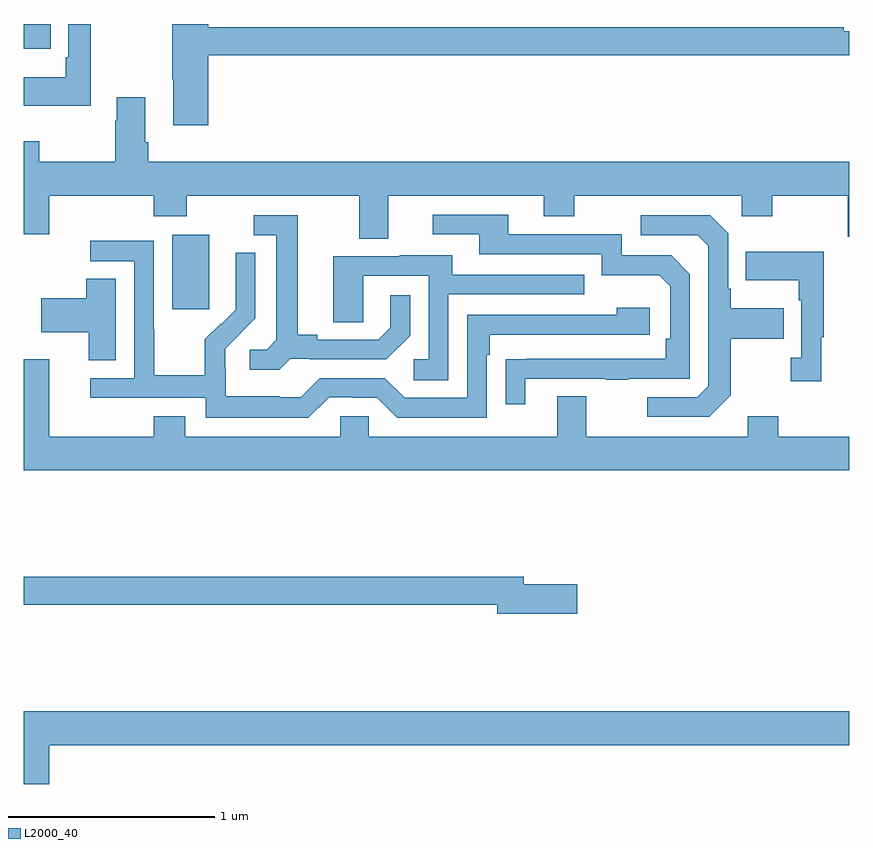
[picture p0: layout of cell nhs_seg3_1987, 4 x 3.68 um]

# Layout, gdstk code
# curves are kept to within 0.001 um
import gdstk
lib = gdstk.Library(unit=1e-6, precision=1e-09)
def R(c, l, rs):  # rectangles x0, y0, x1, y1
    for r in rs: c.add(gdstk.rectangle(r[:2], r[2:], *l))
def P(c, l, *ps):  # polygons
    for p in ps: c.add(gdstk.Polygon(p, *l))
L2000_40 = (2000, 40)

nhs_seg3_1987 = lib.new_cell('nhs_seg3_1987')
R(nhs_seg3_1987, L2000_40, [(213.719,715.017,213.898,715.378), (213,716.279,213.131,716.4)])
P(nhs_seg3_1987, L2000_40, [(213.325,716.4),(213.216,716.4),(213.216,716.239),(213.204,716.239),(213.204,716.143),(213,716.143),(213,716.003),(213.325,716.003)],
  [(213.893,716.248),(217,716.248),(217,716.364),(216.974,716.364),(216.974,716.384),(213.893,716.384),(213.893,716.4),(213.718,716.4),(213.718,716.131),(213.725,716.131),(213.725,715.908),(213.893,715.908)],
  [(214.765,715.568),(215.519,715.568),(215.519,715.469),(215.667,715.469),(215.667,715.568),(216.48,715.568),(216.48,715.469),(216.627,715.469),(216.627,715.568),(216.994,715.568),(216.994,715.369),(217,715.369),(217,715.732),(213.602,715.732),(213.602,715.828),(213.589,715.828),(213.589,716.044),(213.449,716.044),(213.449,715.931),(213.442,715.931),(213.442,715.732),(213.075,715.732),(213.075,715.831),(213,715.831),(213,715.38),(213.124,715.38),(213.124,715.568),(213.629,715.568),(213.629,715.469),(213.789,715.469),(213.789,715.568),(214.625,715.568),(214.625,715.36),(214.765,715.36)],
  [(215.431,714.681),(215.821,714.681),(215.821,714.676),(215.933,714.676),(215.933,714.681),(216.228,714.681),(216.228,715.188),(216.138,715.278),(215.898,715.278),(215.898,715.38),(215.347,715.38),(215.347,715.476),(214.983,715.476),(214.983,715.38),(215.207,715.38),(215.207,715.284),(215.802,715.284),(215.802,715.181),(216.079,715.181),(216.132,715.128),(216.132,714.874),(216.112,714.874),(216.112,714.777),(215.335,714.776),(215.335,714.558),(215.431,714.558)],
  [(214.29,714.777),(214.384,714.777),(214.384,714.774),(214.756,714.774),(214.872,714.89),(214.872,715.084),(214.775,715.084),(214.775,714.927),(214.718,714.87),(214.423,714.87),(214.423,714.893),(214.327,714.893),(214.327,715.473),(214.113,715.473),(214.113,715.377),(214.223,715.377),(214.223,714.869),(214.176,714.822),(214.095,714.822),(214.095,714.725),(214.238,714.725)],
  [(216.427,714.601),(216.427,714.874),(216.683,714.874),(216.683,715.021),(216.427,715.021),(216.427,715.117),(216.414,715.117),(216.414,715.386),(216.327,715.473),(215.991,715.473),(215.991,715.377),(216.267,715.377),(216.318,715.326),(216.318,714.645),(216.264,714.591),(216.021,714.591),(216.021,714.495),(216.321,714.495)],
  [(214.479,714.591),(214.595,714.591),(214.595,714.588),(214.713,714.588),(214.809,714.492),(215.244,714.492),(215.244,714.797),(215.257,714.797),(215.257,714.894),(216.034,714.894),(216.034,715.024),(215.873,715.024),(215.873,714.99),(215.148,714.99),(215.148,714.588),(214.845,714.588),(214.749,714.684),(214.434,714.684),(214.341,714.591),(214.241,714.591),(214.241,714.595),(213.978,714.595),(213.978,714.729),(213.976,714.729),(213.976,714.826),(214.122,714.974),(214.122,715.292),(214.026,715.292),(214.026,715.138),(214.028,715.138),(214.028,715.016),(213.957,714.945),(213.954,714.948),(213.877,714.871),(213.877,714.697),(213.633,714.697),(213.633,714.92),(213.63,714.92),(213.63,715.35),(213.321,715.35),(213.321,715.251),(213.534,715.251),(213.534,714.684),(213.321,714.684),(213.321,714.588),(213.882,714.588),(213.882,714.491),(214.379,714.491)],
  [(216.865,714.881),(216.877,714.881),(216.877,715.297),(216.499,715.297),(216.499,715.157),(216.756,715.157),(216.756,715.061),(216.768,715.061),(216.768,714.782),(216.717,714.782),(216.717,714.669),(216.865,714.669)],
  [(215.058,715.089),(215.717,715.089),(215.717,715.185),(215.077,715.185),(215.077,715.279),(214.823,715.279),(214.823,715.275),(214.499,715.275),(214.499,714.955),(214.644,714.955),(214.644,715.179),(214.962,715.179),(214.962,714.774),(214.89,714.774),(214.89,714.673),(215.058,714.673)],
  [(213.445,715.166),(213.302,715.166),(213.302,715.071),(213.084,715.071),(213.084,714.905),(213.314,714.905),(213.314,714.769),(213.445,714.769)],
  [(217,714.4),(216.657,714.4),(216.657,714.499),(216.509,714.499),(216.509,714.4),(215.725,714.4),(215.725,714.595),(215.585,714.595),(215.585,714.4),(214.671,714.4),(214.671,714.498),(214.533,714.498),(214.533,714.4),(213.781,714.4),(213.781,714.499),(213.629,714.499),(213.629,714.4),(213.124,714.4),(213.124,714.775),(213,714.775),(213,714.236),(217,714.236)],
  [(215.683,713.684),(215.422,713.684),(215.422,713.72),(213,713.72),(213,713.584),(215.294,713.584),(215.294,713.542),(215.683,713.542)],
  [(213.124,712.904),(217,712.904),(217,713.068),(213,713.068),(213,712.716),(213.124,712.716)])

lib.write_gds('nhs_seg3_1987.gds')
